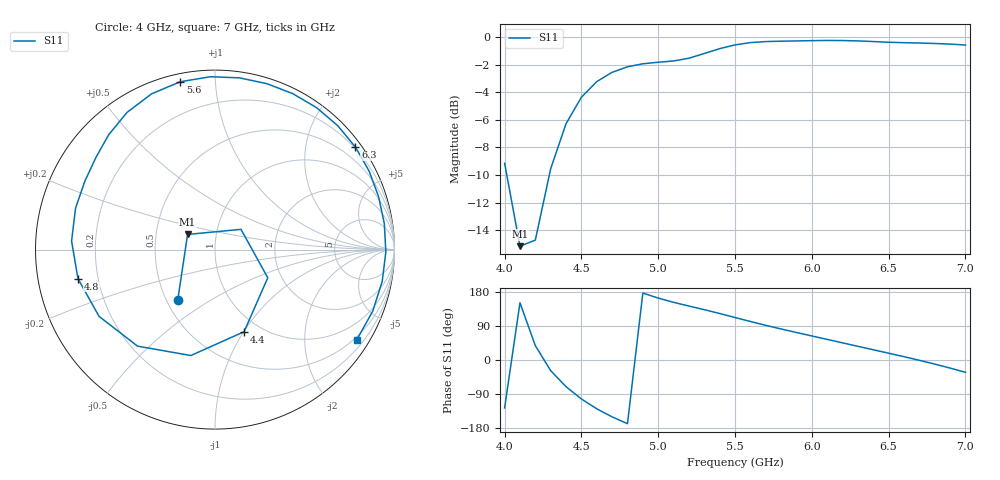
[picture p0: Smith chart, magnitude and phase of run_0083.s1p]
! Touchstone file exported from HFSS 2024.2.0
!  File:  C:/Users/wsak9/Desktop/Sim Fast/Widenad Patch/WP_AI_V1_sweep.aedt
!  Generated:  06:23:31 PM Oct 13, 2026
!  Design:  A1_model
!  Project:  WP_AI_V1_sweep
!  Setup:  Setup1
!  Solution:  Sweep
! Variables:
!  Air_gap = 2.24mm
!  Curve_Amp1 = 1.39
!  Curve_len1 = 1
!  Curve_pos = 13.195mm
!  Extra = 4.76mm
!  H_sub = 0.79mm
!  L_Patch = 22.39mm
!  L_Patch1 = 19.83mm
!  Sx = 4.47mm
!  Sy = 3.22mm
!  WS = 0.33mm
!  W_Patch = 21.08mm
!  W_Patch1 = 15.07mm
!Data is not renormalized
# GHz S MA
! Terminal data exported
! Port[1] = 1
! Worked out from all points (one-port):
!   31 points, 4 GHz to 7 GHz, reference per port
!   lowest |S11| = -15.2 dB at 4.1 GHz (marker M1), VSWR 1.42
!   |S11| at or under -10 dB: 4.014 GHz to 4.291 GHz (277 MHz wide, 6.67 % of centre)
!   S11 on the Smith chart (normalised r, x): 4 GHz: 0.57, -0.37; 4.4 GHz: 0.84, -1.00; 4.8 GHz: 0.12, -0.10; 5.6 GHz: 0.04, +0.81; 6.3 GHz: 0.16, +3.06; 7 GHz: 0.42, -3.39
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4  0.3489 -126.5
4.1  0.1746 151.0
4.2  0.1837 37.9
4.3  0.3333 -28.1
4.4  0.4853 -70.5
4.5  0.6054 -102.9
4.6  0.6897 -128.8
4.7  0.7454 -150.1
4.8  0.7804 -168.0
4.9  0.8004 176.6
5  0.8106 163.4
5.2  0.8385 142.3
5.3  0.8721 132.8
5.4  0.908 122.7
5.5  0.9371 112.1
5.6  0.955 101.7
5.7  0.9634 91.5
5.8  0.9666 81.9
5.9  0.9686 72.6
6.1  0.9724 54.4
6.3  0.9687 36.1
6.4  0.9637 27.0
6.5  0.9579 17.9
6.6  0.9544 8.8
6.7  0.9519 -0.8
6.8  0.9483 -10.8
6.9  0.9434 -21.3
7  0.9362 -32.4
